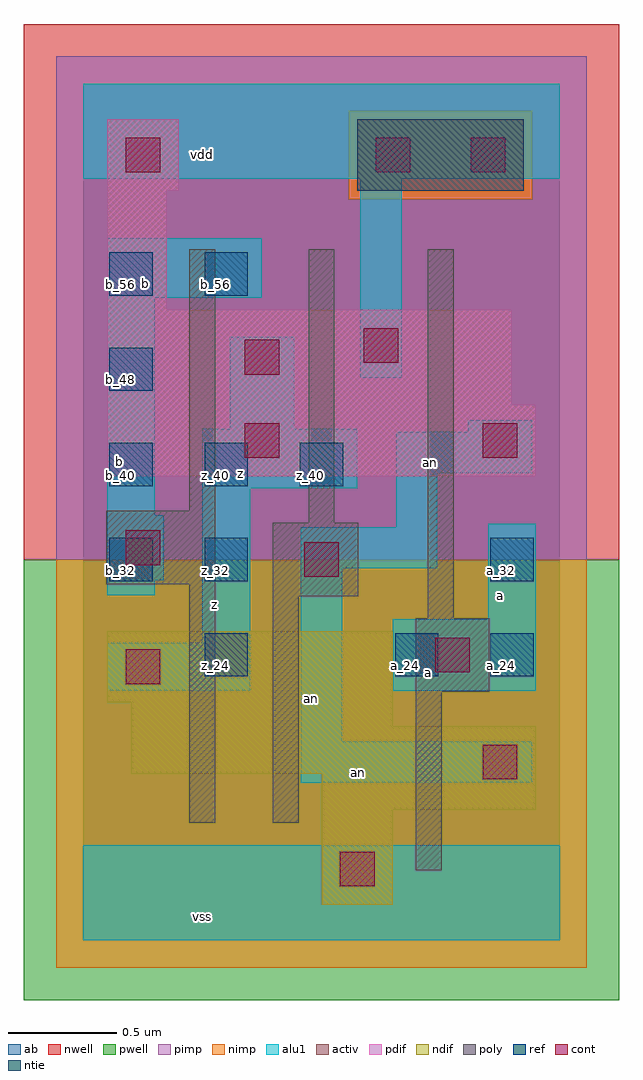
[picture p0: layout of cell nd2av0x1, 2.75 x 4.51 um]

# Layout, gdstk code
import gdstk
lib = gdstk.Library(unit=1e-6, precision=2.5e-09)
def R(c, l, rs):  # rectangles x0, y0, x1, y1
    for r in rs: c.add(gdstk.rectangle(r[:2], r[2:], *l))
def A(c, l, x, y, w, h, nx, ny, dx, dy):  # array of equal rectangles
    R(c, l, [(x+i*dx, y+j*dy, x+i*dx+w, y+j*dy+h) for i in range(nx) for j in range(ny)])
ndif = (3, 0)
pdif = (4, 0)
ntie = (5, 0)
ref = (24, 0)
cont = (25, 0)
pwell = (41, 0)
nwell = (42, 0)
activ = (43, 0)
pimp = (44, 0)
nimp = (45, 0)
poly = (46, 0)
alu1 = (49, 0)
ab = (63, 0)

nd2av0x1 = lib.new_cell('nd2av0x1')
R(nd2av0x1, ndif, [(1.1,0.165,1.43,0.605), (1.1,0.605,2.09,0.77), (0.22,0.77,2.09,0.99), (0.22,0.99,1.43,1.1), (0.11,1.1,1.43,1.43)])
R(nd2av0x1, pdif, [(0.11,2.145,2.09,2.475), (0.11,2.475,1.98,2.915), (0.11,2.915,0.385,3.465), (0.11,3.465,0.44,3.795)])
R(nd2av0x1, ntie, [(1.265,3.465,2.035,3.795)])
A(nd2av0x1, ref, 0.12, 2.1, 0.2, 0.2, 3, 1, 0.44, 0)
R(nd2av0x1, ref, [(0.56,1.22,0.76,1.42), (1.44,1.22,1.64,1.42), (1.88,1.22,2.08,1.42), (0.12,1.66,0.32,1.86), (0.56,1.66,0.76,1.86), (1.88,1.66,2.08,1.86), (0.12,2.54,0.32,2.74), (0.12,2.98,0.32,3.18), (0.56,2.98,0.76,3.18)])
R(nd2av0x1, cont, [(1.185,0.25,1.345,0.41), (1.845,0.745,2.005,0.905), (0.195,1.185,0.355,1.345), (1.625,1.24,1.785,1.4), (1.02,1.68,1.18,1.84), (0.195,1.735,0.355,1.895), (0.745,2.23,0.905,2.39), (1.845,2.23,2.005,2.39), (0.745,2.615,0.905,2.775), (1.295,2.67,1.455,2.83), (0.195,3.55,0.355,3.71), (1.35,3.55,1.51,3.71), (1.79,3.55,1.95,3.71)])
R(nd2av0x1, pwell, [(-0.275,-0.275,2.475,1.76)])
R(nd2av0x1, nwell, [(-0.275,1.76,2.475,4.235)])
R(nd2av0x1, activ, [(1.1,0.165,1.43,0.605), (1.1,0.605,2.09,0.77), (0.22,0.77,2.09,0.99), (0.22,0.99,1.43,1.1), (0.11,1.1,1.43,1.43), (0.11,2.145,2.09,2.475), (0.11,2.475,1.98,2.915), (0.11,2.915,0.385,3.465), (0.11,3.465,0.44,3.795), (1.265,3.465,2.035,3.795)])
R(nd2av0x1, pimp, [(-0.125,1.76,2.325,3.425), (-0.125,3.425,1.225,3.835), (2.075,3.425,2.325,3.835), (-0.125,3.835,2.325,4.085)])
R(nd2av0x1, nimp, [(-0.125,-0.125,2.325,1.76), (1.225,3.425,2.075,3.835)])
R(nd2av0x1, poly, [(1.535,0.325,1.655,1.15), (0.49,0.545,0.61,1.645), (0.875,0.545,0.995,1.59), (1.535,1.15,1.875,1.49), (1.59,1.49,1.71,3.195), (0.875,1.59,1.27,1.93), (0.105,1.645,0.61,1.985), (1.04,1.93,1.16,3.195), (0.49,1.985,0.61,3.195)])
R(nd2av0x1, alu1, [(0,0,2.2,0.44), (1.005,0.73,2.075,0.92), (1.005,0.92,1.195,1.72), (0.11,1.155,0.77,1.375), (1.43,1.155,2.09,1.485), (0.55,1.375,0.77,2.09), (1.87,1.485,2.09,1.925), (0.11,1.595,0.33,1.665), (0.11,1.665,0.37,1.965), (1.005,1.72,1.635,1.91), (1.445,1.91,1.635,2.16), (0.11,1.965,0.33,2.97), (0.55,2.09,1.265,2.365), (1.445,2.16,2.075,2.35), (1.775,2.35,2.075,2.405), (0.675,2.365,0.975,2.79), (1.28,2.6,1.47,3.52), (0.11,2.97,0.825,3.245), (0,3.52,2.2,3.96)])
R(nd2av0x1, ab, [(0,0,2.2,3.96)])
nd2av0x1.add(gdstk.Label('vss', (0.55,0.11), layer=49, texttype=0))
nd2av0x1.add(gdstk.Label('an', (1.2725,0.7775), layer=49, texttype=0))
nd2av0x1.add(gdstk.Label('a', (1.595,1.2375), layer=49, texttype=0))
nd2av0x1.add(gdstk.Label('a', (1.925,1.595), layer=49, texttype=0))
nd2av0x1.add(gdstk.Label('an', (1.0525,1.12), layer=49, texttype=0))
nd2av0x1.add(gdstk.Label('z', (0.605,1.5525), layer=49, texttype=0))
nd2av0x1.add(gdstk.Label('an', (1.6025,2.2075), layer=49, texttype=0))
nd2av0x1.add(gdstk.Label('z', (0.7275,2.1575), layer=49, texttype=0))
nd2av0x1.add(gdstk.Label('b', (0.165,2.215), layer=49, texttype=0))
nd2av0x1.add(gdstk.Label('b', (0.2875,3.0375), layer=49, texttype=0))
nd2av0x1.add(gdstk.Label('vdd', (0.55,3.63), layer=49, texttype=0))
nd2av0x1.add(gdstk.Label('b_32', (0.17,1.71), layer=24, texttype=0))
nd2av0x1.add(gdstk.Label('b_56', (0.17,3.03), layer=24, texttype=0))
nd2av0x1.add(gdstk.Label('b_48', (0.17,2.59), layer=24, texttype=0))
nd2av0x1.add(gdstk.Label('b_40', (0.17,2.15), layer=24, texttype=0))
nd2av0x1.add(gdstk.Label('a_32', (1.93,1.71), layer=24, texttype=0))
nd2av0x1.add(gdstk.Label('a_24', (1.93,1.27), layer=24, texttype=0))
nd2av0x1.add(gdstk.Label('a_24', (1.49,1.27), layer=24, texttype=0))
nd2av0x1.add(gdstk.Label('z_40', (1.05,2.15), layer=24, texttype=0))
nd2av0x1.add(gdstk.Label('b_56', (0.61,3.03), layer=24, texttype=0))
nd2av0x1.add(gdstk.Label('z_40', (0.61,2.15), layer=24, texttype=0))
nd2av0x1.add(gdstk.Label('z_32', (0.61,1.71), layer=24, texttype=0))
nd2av0x1.add(gdstk.Label('z_24', (0.61,1.27), layer=24, texttype=0))

lib.write_gds('nd2av0x1.gds')
